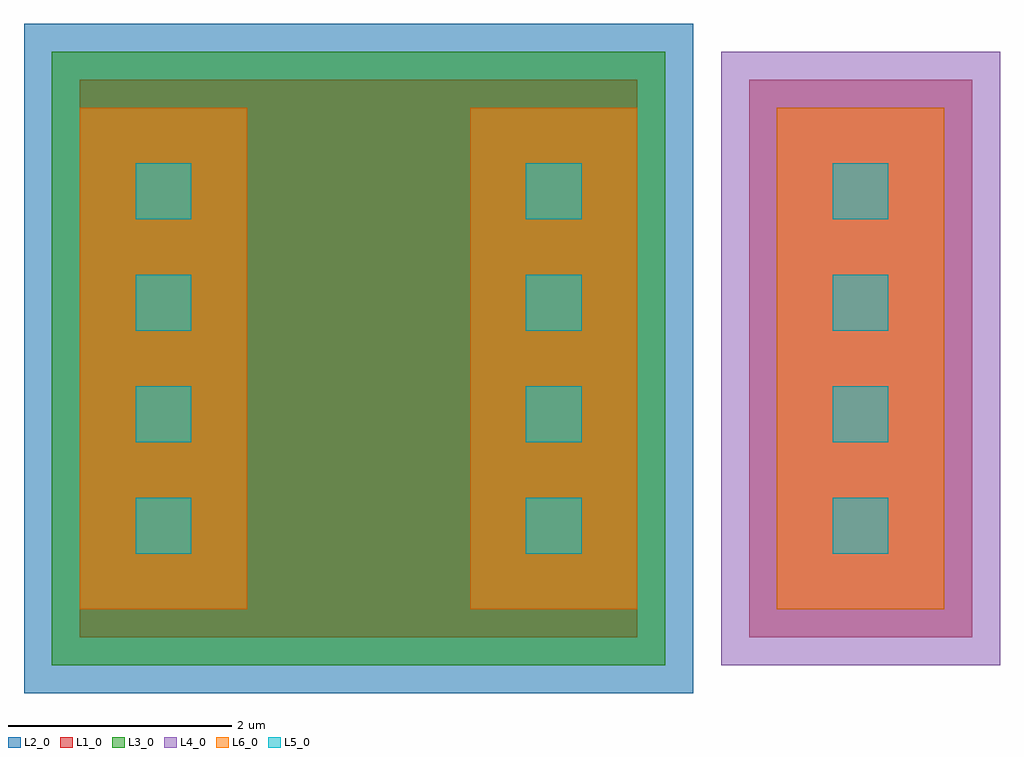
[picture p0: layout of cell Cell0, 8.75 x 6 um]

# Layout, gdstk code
import gdstk
lib = gdstk.Library(unit=1e-6, precision=1e-09)
def R(c, l, rs):  # rectangles x0, y0, x1, y1
    for r in rs: c.add(gdstk.rectangle(r[:2], r[2:], *l))
L1_0 = (1, 0)
L2_0 = (2, 0)
L3_0 = (3, 0)
L4_0 = (4, 0)
L5_0 = (5, 0)
L6_0 = (6, 0)

contact = lib.new_cell('contact')
R(contact, L5_0, [(-2,1.5,-1.5,2)])

cell0 = lib.new_cell('Cell0')
R(cell0, L1_0, [(-2.5,-2.5,2.5,2.5), (3.5,-2.5,5.5,2.5)])
R(cell0, L2_0, [(-3,-3,3,3)])
R(cell0, L3_0, [(-2.75,-2.75,2.75,2.75)])
R(cell0, L4_0, [(3.25,-2.75,5.75,2.75), (3.75,-2.25,5.25,2.25)])
R(cell0, L6_0, [(-2.5,-2.25,-1,2.25), (1,-2.25,2.5,2.25), (3.75,-2.25,5.25,2.25)])
r = gdstk.Reference(contact, (6.25,-3.25)); r.repetition = gdstk.Repetition(1, 4, v1=(1,0), v2=(0,1)); cell0.add(r)
r = gdstk.Reference(contact, (0,-3.25)); r.repetition = gdstk.Repetition(1, 4, v1=(1,0), v2=(0,1)); cell0.add(r)
r = gdstk.Reference(contact, (3.5,-3.25)); r.repetition = gdstk.Repetition(1, 4, v1=(1,0), v2=(0,1)); cell0.add(r)

lib.write_gds('Cell0.gds')
